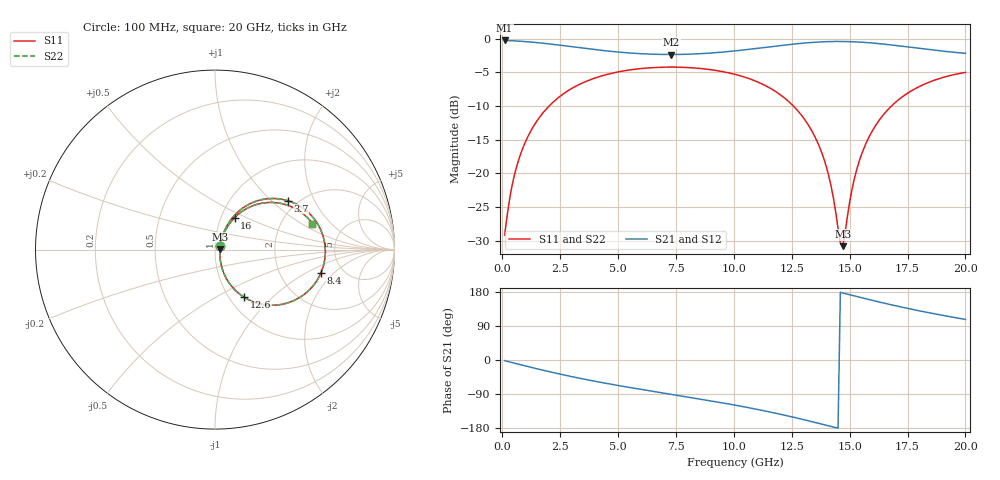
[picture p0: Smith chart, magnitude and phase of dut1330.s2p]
! Touchstone file exported from HFSS 2026.1.0
!  File:  C:/ffzhzh/LocalFiles/Ansys_Project_Files/temp_train_TSV_RDL_1330_1783337839_39728.aedt
!  Generated:  07:50:37 PM Jul  6, 2026
!  Design:  TSV_RDL
!  Project:  temp_train_TSV_RDL_1330_1783337839_39728
! Variables:
!  h_bsmrdl = 3.45um
!  h_ox = 20um
!  h_rdl = 5um
!  h_sub = 59.91um
!  h_tmrdl = 2.08um
!  h_tsv = 59.91um
!  h_via = 3um
!  l_bsmrdl = 392.16um
!  l_sub = 4368.26um
!  l_tmrdl = 665.14um
!  m_sub = 200um
!  pitch = 55.92um
!  r_tsv = 2.94um
!  s_tmrdl = 10um
!  w_bsmrdl = 15.68um
!  w_sub = 500um
!  w_tmrdl = 28.06um
!  x_tsv_center1 = 679.17um
!  x_tsv_center2 = 1087.01um
!  x_tsv_center3 = 1780.21um
!  x_tsv_center4 = 2188.05um
!  x_tsv_center5 = 2881.25um
!  x_tsv_center6 = 3289.09um
# GHz S MA R 50.000000
! Terminal data exported
! Port[1] = TM_RDL1_1_T1
! Port[2] = TM_RDL5_1_T1
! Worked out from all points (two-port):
!   200 points, 100 MHz to 20 GHz, reference 50 ohm
!   highest |S21| = -0.26 dB at 100 MHz (marker M1); lowest = -2.3 dB at 7.3 GHz (marker M2)
!   |S21| within 3 dB of the highest: start of sweep to end of sweep
!   lowest |S11| = -30.8 dB at 14.7 GHz (marker M3), VSWR 1.06, Z = 52.9 + j0.358 ohm
!   |S11| at or under -10 dB: start of sweep to 2.023 GHz; 12.57 GHz to 16.81 GHz (4.236 GHz wide, 28.8 % of centre)
!   |S22| runs from -30.9 to -4.2 dB; largest |S21 - S12| = 5.1e-14
!   S11 on the Smith chart (normalised r, x): 100 MHz: 1.06, +0.04; 3.7 GHz: 1.78, +1.27; 8.4 GHz: 3.42, -1.42; 12.6 GHz: 1.17, -0.69; 16 GHz: 1.16, +0.43; 20 GHz: 2.98, +1.26
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0.1  0.03468 30.2  0.9704 -1.7  0.9704 -1.7  0.03468 30.2
! Gamma 0 0 0 0
! Port Impedance 50 0 50 0
0.5  0.09333 61.7  0.9638 -8.1  0.9638 -8.1  0.09333 61.7
1.2  0.2017 61.4  0.9456 -18.8  0.9456 -18.8  0.2017 61.4
2.2  0.3385 51.1  0.9075 -33.2  0.9075 -33.2  0.3385 51.1
3.5  0.4722 36.2  0.8504 -50.1  0.8504 -50.1  0.4722 36.2
3.7  0.4882 33.9  0.842 -52.6  0.842 -52.6  0.4882 33.9
6.8  0.6129 2.6  0.7645 -85.6  0.7645 -85.6  0.6129 2.6
7.3  0.6151 -2.1  0.7631 -90.6  0.7631 -90.6  0.6151 -2.1
8.4  0.6041 -12.6  0.7716 -101.5  0.7716 -101.5  0.6042 -12.6
10.1  0.5406 -29.7  0.8136 -119.6  0.8136 -119.6  0.5406 -29.8
11.4  0.4448 -44.2  0.8639 -135.2  0.8639 -135.2  0.4448 -44.2
12.6  0.3125 -58.4  0.913 -151.3  0.913 -151.3  0.3125 -58.5
13.4  0.2018 -67.0  0.9387 -163.1  0.9387 -163.1  0.2018 -67.0
14.1  0.09555 -68.3  0.9515 -173.8  0.9515 -173.8  0.09554 -68.4
14.6  0.03012 -23.6  0.9537 178.5  0.9537 178.5  0.02995 -23.8
14.7  0.02875 6.8  0.9534 176.9  0.9534 176.9  0.02856 6.8
15  0.06096 53.4  0.9509 172.3  0.9509 172.3  0.06084 53.5
15.3  0.1056 60.9  0.9463 167.7  0.9463 167.7  0.1055 61.0
16  0.2094 58.4  0.9283 157.1  0.9283 157.1  0.2093 58.5
16.7  0.3031 51.0  0.9027 147.0  0.9027 147.0  0.3031 51.1
18.2  0.4572 33.8  0.8395 127.4  0.8395 127.4  0.4572 33.8
20  0.5619 14.9  0.7791 107.1  0.7791 107.1  0.5619 14.9
